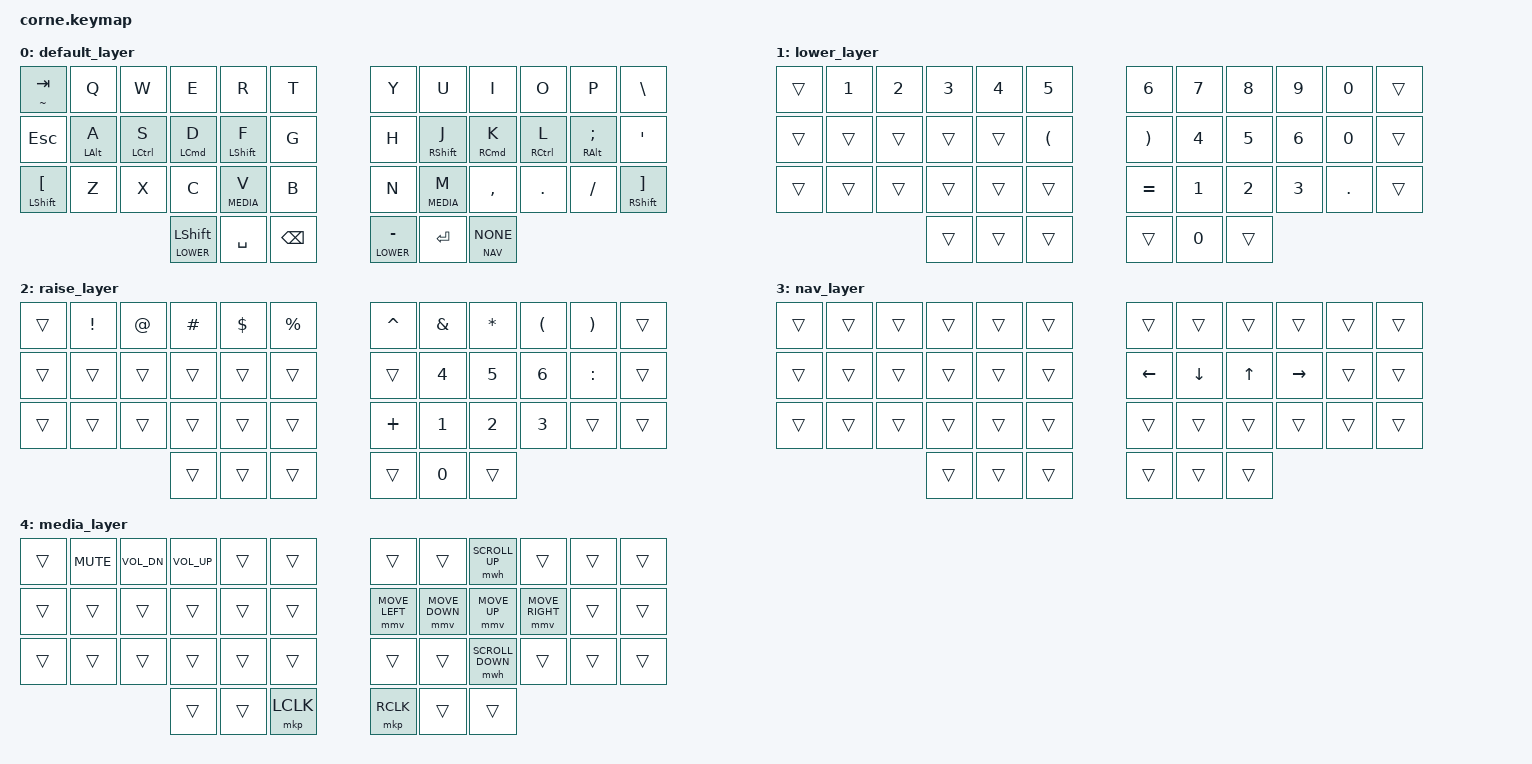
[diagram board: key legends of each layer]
#include <behaviors.dtsi>
#include <dt-bindings/zmk/keys.h>
#include <dt-bindings/zmk/bt.h>
#include <dt-bindings/zmk/mouse.h>

#define DEFAULT 0
#define LOWER   1
#define RAISE   2
#define NAV     3
#define MEDIA   4

&mmv {
    time-to-max-speed-ms = <500>;
    acceleration-exponent = <1>;
};

&mwh {
    time-to-max-speed-ms = <500>;
    acceleration-exponent = <1>;
};

/ {
    behaviors {
        hm: homerow_mods {
            compatible = "zmk,behavior-hold-tap";
            label = "HOMEROW_MODS";
            #binding-cells = <2>;
            tapping-term-ms = <200>;
            quick-tap-ms = <0>;
            flavor = "tap-preferred";
            bindings = <&kp>, <&kp>;
        };
        
        lower_shift: lower_shift {
            compatible = "zmk,behavior-hold-tap";
            label = "LOWER_SHIFT";
            #binding-cells = <2>;
            tapping-term-ms = <200>;
            quick-tap-ms = <0>;
            flavor = "hold-preferred";
            bindings = <&mo>, <&kp>;
        };

        media_layer: media_layer {
            compatible = "zmk,behavior-hold-tap";
            label = "MEDIA_LAYER";
            #binding-cells = <2>;
            tapping-term-ms = <200>;
            quick-tap-ms = <0>;
            flavor = "hold-preferred";
            bindings = <&mo>, <&kp>;
        };
    };

    keymap {
        compatible = "zmk,keymap";

        default_layer {
            bindings = <
    &mt TILDE TAB &kp Q &kp W &kp E &kp R &kp T                                 &kp Y &kp U &kp I     &kp O   &kp P    &kp BSLH
    &kp ESC       &hm LALT A &hm LCTRL S &hm LCMD D &hm LSHFT F &kp G           &kp H &hm RSHFT J &hm RCMD K &hm RCTRL L &hm RALT SEMI &kp SQT
    &mt LSHFT LBKT &kp Z &kp X &kp C &media_layer MEDIA V &kp B                 &kp N &media_layer MEDIA M &kp COMMA &kp DOT &kp FSLH &mt RSHFT RBKT
                          &lower_shift LOWER LSHFT &kp SPACE &kp BSPC           &lt LOWER MINUS &kp ENTER &lt NAV NONE
            >;
        };

        lower_layer {
            bindings = <
    &trans &kp N1    &kp N2    &kp N3    &kp N4    &kp N5                       &kp N6 &kp N7    &kp N8    &kp N9    &kp N0    &trans
    &trans &trans    &trans    &trans    &trans    &kp LPAR                     &kp RPAR &kp N4    &kp N5    &kp N6    &kp N0  &trans
    &trans &trans    &trans    &trans    &trans    &trans                       &kp EQUAL &kp N1    &kp N2    &kp N3    &kp DOT    &trans
                               &trans    &trans    &trans                       &trans   &kp N0    &trans
            >;
        };

        raise_layer {
            bindings = <
    &trans &kp EXCL  &kp AT    &kp HASH  &kp DLLR  &kp PRCNT                    &kp CARET &kp AMPS  &kp STAR  &kp LPAR  &kp RPAR  &trans
    &trans &trans    &trans    &trans    &trans    &trans                       &trans    &kp N4    &kp N5    &kp N6    &kp COLON &trans
    &trans &trans    &trans    &trans    &trans    &trans                       &kp PLUS  &kp N1    &kp N2    &kp N3    &trans    &trans
                               &trans    &trans    &trans                       &trans    &kp N0    &trans
            >;
        };

        nav_layer {
            bindings = <
    &trans &trans    &trans    &trans    &trans    &trans                       &trans &trans    &trans    &trans    &trans    &trans
    &trans &trans    &trans    &trans    &trans    &trans                       &kp LEFT &kp DOWN &kp UP   &kp RIGHT &trans    &trans
    &trans &trans    &trans    &trans    &trans    &trans                       &trans &trans    &trans    &trans    &trans    &trans
                               &trans    &trans    &trans                       &trans &trans    &trans
            >;
        };

        media_layer {
            bindings = <
    &trans &kp C_MUTE &kp C_VOL_DN &kp C_VOL_UP &trans &trans                   &trans &trans    &mwh SCROLL_UP &trans    &trans    &trans
    &trans &trans     &trans       &trans       &trans &trans                   &mmv MOVE_LEFT &mmv MOVE_DOWN &mmv MOVE_UP &mmv MOVE_RIGHT &trans &trans
    &trans &trans     &trans       &trans       &trans &trans                   &trans &trans    &mwh SCROLL_DOWN &trans &trans &trans
                               &trans &trans &mkp LCLK                          &mkp RCLK &trans &trans
            >;
        };
    };
};

